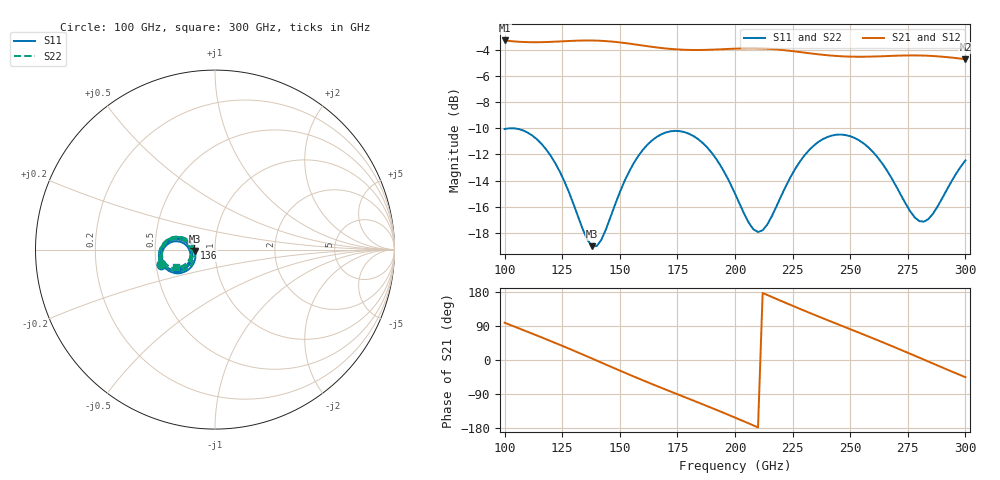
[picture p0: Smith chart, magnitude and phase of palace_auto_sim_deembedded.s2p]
! Created with skrf 1.11.0 (http://scikit-rf.org).
# GHz S DB R 50.0
!freq dBS11 angS11 dBS21 angS21 dBS12 angS12 dBS22 angS22
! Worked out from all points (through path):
!   101 points, 100 GHz to 300 GHz, reference 50 ohm
!   highest |S21| = -3.29 dB at 100 GHz (marker M1); lowest = -4.7 dB at 300 GHz (marker M2)
!   group delay of S21, straight-line fit = 7 ps
!   lowest |S11| = -19.0 dB at 138 GHz (marker M3), VSWR 1.25, Z = 40 - j0.671 ohm
!   |S11| at or under -10 dB: start of sweep to end of sweep
!   |S22| runs from -18.9 to -10.0 dB; largest |S21 - S12| = 7.4e-14
!   S11 on the Smith chart (normalised r, x): 100 GHz: 0.53, -0.10; 136 GHz: 0.79, +0.01; 300 GHz: 0.64, -0.15
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100  -10.07 -163.9  -3.29 98.5  -3.29 98.5  -10.08 -165.3
116  -11.20 170.5  -3.42 59.8  -3.42 59.8  -11.21 169.0
124  -13.34 161.8  -3.37 39.9  -3.37 39.9  -13.34 160.2
134  -17.76 168.8  -3.30 14.2  -3.30 14.2  -17.71 167.1
136  -18.55 175.6  -3.30 9.0  -3.30 9.0  -18.49 173.7
138  -19.02 -175.8  -3.30 3.7  -3.30 3.7  -18.95 -177.8
142  -18.53 -157.7  -3.32 -6.8  -3.32 -6.8  -18.47 -160.0
150  -14.90 -143.1  -3.44 -27.9  -3.44 -27.9  -14.90 -145.7
160  -11.66 -150.2  -3.68 -53.5  -3.68 -53.5  -11.68 -152.9
168  -10.47 -161.3  -3.87 -73.3  -3.87 -73.3  -10.50 -164.1
184  -10.84 175.4  -4.02 -112.1  -4.02 -112.1  -10.88 172.3
200  -15.00 164.5  -3.92 -152.0  -3.92 -152.0  -15.11 161.0
208  -17.73 -179.8  -3.90 -172.7  -3.90 -172.7  -17.93 176.9
212  -17.80 -165.5  -3.91 176.8  -3.91 176.8  -18.00 -168.3
222  -14.46 -147.7  -4.05 150.8  -4.05 150.8  -14.56 -150.4
234  -11.36 -155.9  -4.31 120.4  -4.31 120.4  -11.42 -158.9
250  -10.61 -176.8  -4.53 81.4  -4.53 81.4  -10.67 179.7
258  -11.48 173.6  -4.53 61.9  -4.53 61.9  -11.55 169.9
268  -13.83 167.4  -4.47 37.0  -4.47 37.0  -13.93 163.4
282  -17.14 -169.3  -4.45 0.9  -4.45 0.9  -17.34 -172.9
290  -15.33 -152.2  -4.54 -19.9  -4.54 -19.9  -15.46 -155.6
300  -12.46 -152.0  -4.72 -45.4  -4.72 -45.4  -12.54 -155.6
